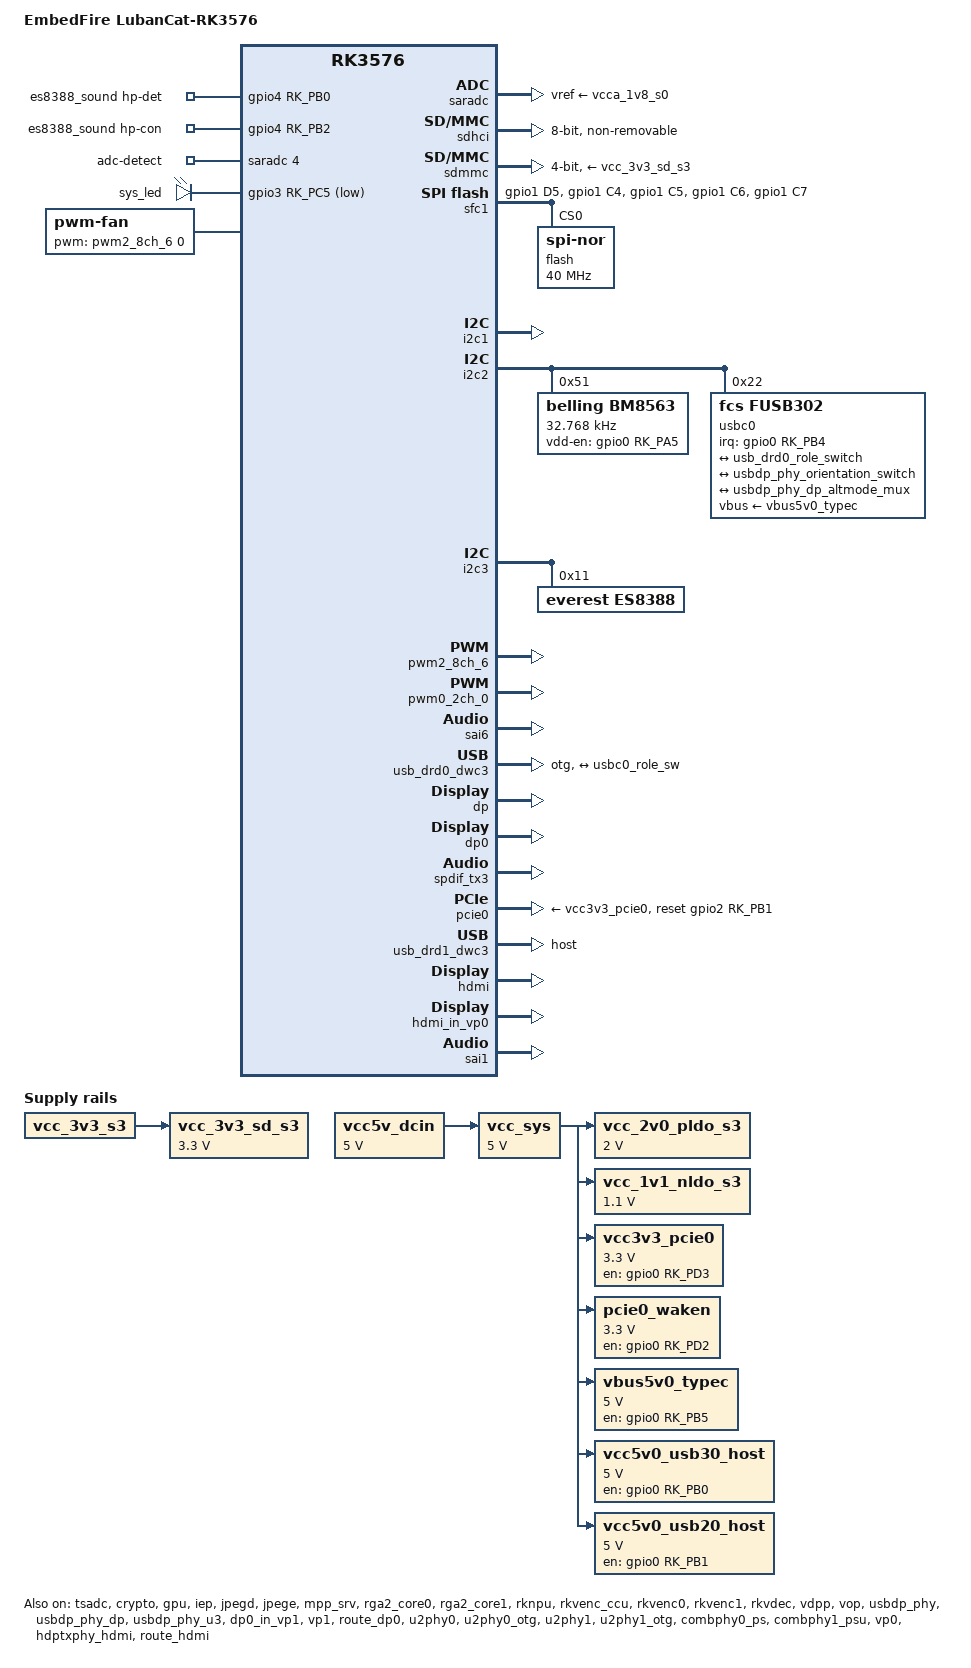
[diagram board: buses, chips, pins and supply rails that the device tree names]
// SPDX-License-Identifier: (GPL-2.0+ OR MIT)
/*
* Copyright (c) 2024 Rockchip Electronics Co., Ltd.
* Copyright (c) 2024 EmbedFire <embedfire@embedfire.com>
*/

/dts-v1/;
#include <dt-bindings/usb/pd.h>
#include <dt-bindings/gpio/gpio.h>
#include <dt-bindings/pwm/pwm.h>
#include <dt-bindings/pinctrl/rockchip.h>
#include <dt-bindings/input/linux-event-codes.h>
#include <dt-bindings/display/drm_mipi_dsi.h>
#include <dt-bindings/display/rockchip_vop.h>
#include <dt-bindings/sensor-dev.h>
#include "rk3576.dtsi"
#include "rk3576-linux.dtsi"
#include "rk3576-rk806.dtsi"

/ {
	model = "EmbedFire LubanCat-RK3576";
	compatible = "embedfire,rk3576-lubancat", "rockchip,rk3576";

	vcc5v_dcin: vcc5v-dcin {
		compatible = "regulator-fixed";
		regulator-name = "vcc5v_dcin";
		regulator-always-on;
		regulator-boot-on;
		regulator-min-microvolt = <5000000>;
		regulator-max-microvolt = <5000000>;
	};

	vcc_sys: vcc5v0-sys {
		compatible = "regulator-fixed";
		regulator-name = "vcc_sys";
		regulator-always-on;
		regulator-boot-on;
		regulator-min-microvolt = <5000000>;
		regulator-max-microvolt = <5000000>;
		vin-supply = <&vcc5v_dcin>;
	};

	vcc_2v0_pldo_s3: vcc-2v0-pldo-s3 {
		compatible = "regulator-fixed";
		regulator-name = "vcc_2v0_pldo_s3";
		regulator-boot-on;
		regulator-always-on;
		regulator-min-microvolt = <2000000>;
		regulator-max-microvolt = <2000000>;
		vin-supply = <&vcc_sys>;
	};

	vcc_1v1_nldo_s3: vcc-1v1-nldo-s3 {
		compatible = "regulator-fixed";
		regulator-name = "vcc_1v1_nldo_s3";
		regulator-boot-on;
		regulator-always-on;
		regulator-min-microvolt = <1100000>;
		regulator-max-microvolt = <1100000>;
		vin-supply = <&vcc_sys>;
	};

	vcc_3v3_sd_s3: vcc-3v3-sd-s3 {
		compatible = "regulator-fixed";
		regulator-name = "vcc_3v3_sd_s3";
		regulator-always-on;
		regulator-boot-on;
		regulator-min-microvolt = <3300000>;
		regulator-max-microvolt = <3300000>;
		vin-supply = <&vcc_3v3_s3>;
	};

	vcc3v3_pcie0: vcc3v3-pcie0 {
		compatible = "regulator-fixed";
		regulator-name = "vcc3v3_pcie0";
		regulator-min-microvolt = <3300000>;
		regulator-max-microvolt = <3300000>;
		enable-active-high;
		regulator-always-on;
		gpios = <&gpio0 RK_PD3 GPIO_ACTIVE_HIGH>;
		startup-delay-us = <5000>;
		vin-supply = <&vcc_sys>;
	};

	pcie0_waken: pcie0-waken {
		compatible = "regulator-fixed";
		regulator-name = "pcie0_waken";
		regulator-min-microvolt = <3300000>;
		regulator-max-microvolt = <3300000>;
		enable-active-high;
		regulator-always-on;
		gpios = <&gpio0 RK_PD2 GPIO_ACTIVE_HIGH>;
		startup-delay-us = <5000>;
		vin-supply = <&vcc_sys>;
	};

	vbus5v0_typec: vbus5v0-typec {
		compatible = "regulator-fixed";
		regulator-name = "vbus5v0_typec";
		regulator-min-microvolt = <5000000>;
		regulator-max-microvolt = <5000000>;
		enable-active-high;
		gpio = <&gpio0 RK_PB5 GPIO_ACTIVE_HIGH>;
		vin-supply = <&vcc_sys>;
		pinctrl-names = "default";
		pinctrl-0 = <&typec_vbus_en>;
	};

	vcc5v0_usb30_host: vcc5v0-usb30-host {
		compatible = "regulator-fixed";
		regulator-name = "vcc5v0_usb30_host";
		regulator-min-microvolt = <5000000>;
		regulator-max-microvolt = <5000000>;
		regulator-always-on;
		regulator-boot-on;
		enable-active-high;
		gpio = <&gpio0 RK_PB0 GPIO_ACTIVE_HIGH>;
		vin-supply = <&vcc_sys>;
		pinctrl-names = "default";
		pinctrl-0 = <&usb30_host_pwr_en>;
	};

	vcc5v0_usb20_host: vcc5v0-usb20-host {
		compatible = "regulator-fixed";
		regulator-name = "vcc5v0_usb20_host";
		regulator-min-microvolt = <5000000>;
		regulator-max-microvolt = <5000000>;
		regulator-always-on;
		regulator-boot-on;
		enable-active-high;
		gpio = <&gpio0 RK_PB1 GPIO_ACTIVE_HIGH>;
		vin-supply = <&vcc_sys>;
		pinctrl-names = "default";
		pinctrl-0 = <&usb20_host_pwr_en>;
	};

	es8388_sound: es8388-sound {
		status = "okay";
		compatible = "rockchip,multicodecs-card";
		rockchip,card-name = "rockchip-es8388";
		hp-det-gpio = <&gpio4 RK_PB0 GPIO_ACTIVE_HIGH>;
		hp-con-gpio = <&gpio4 RK_PB2 GPIO_ACTIVE_HIGH>;
		io-channels = <&saradc 4>;
		io-channel-names = "adc-detect";
		keyup-threshold-microvolt = <1800000>;
		poll-interval = <100>;
		// rockchip,pre-power-on-delay-ms = <30>;
		// rockchip,post-power-down-delay-ms = <40>;
		rockchip,format = "i2s";
		rockchip,mclk-fs = <256>;
		rockchip,cpu = <&sai1>;
		rockchip,codec = <&es8388>;
		rockchip,audio-routing =
			"Headphone", "LOUT1",
			"Headphone", "ROUT1",
			"Headphone", "Headphone Power",
			"Headphone", "Headphone Power",
			"LINPUT1", "Main Mic",
			"LINPUT2", "Main Mic",
			"RINPUT1", "Headset Mic",
			"RINPUT2", "Headset Mic";
		pinctrl-names = "default";
		pinctrl-0 = <&hp_det>;
		play-pause-key {
			label = "playpause";
			linux,code = <KEY_PLAYPAUSE>;
			press-threshold-microvolt = <2000>;
		};

		previous-song-key {
			label = "previoussong";
			linux,code = <KEY_PREVIOUSSONG>;
			press-threshold-microvolt = <145000>;
		};

		next-song-key {
			label = "nextsong";
			linux,code = <KEY_NEXTSONG>;
			press-threshold-microvolt = <290000>;
		};
	};

	hdmi_sound: hdmi-sound {
		compatible = "rockchip,hdmi";
		rockchip,mclk-fs = <128>;
		rockchip,card-name = "rockchip-hdmi";
		rockchip,cpu = <&sai6>;
		rockchip,codec = <&hdmi>;
		rockchip,jack-det;
	};

	dp0_sound: dp0-sound {
		compatible = "rockchip,hdmi";
		rockchip,mclk-fs = <512>;
		rockchip,card-name = "rockchip-dp0";
		rockchip,cpu = <&spdif_tx3>;
		rockchip,codec = <&dp0 1>;
		rockchip,jack-det;
	};

	leds: leds {
		status = "okay";
		compatible = "gpio-leds";

		sys_led: sys-led {
			label = "sys_led";
			linux,default-trigger = "heartbeat";
			default-state = "on";
			gpios = <&gpio3 RK_PC5 GPIO_ACTIVE_LOW>;
			pinctrl-names = "default";
			pinctrl-0 = <&sys_status_led_pin>;
		};
	};

	fan: pwm-fan {
		compatible = "pwm-fan";
		#cooling-cells = <2>;
		pwms = <&pwm2_8ch_6 0 500000 0>;
		cooling-levels = <0 100 150 200 255>;
		rockchip,temp-trips = <
			40000	1
			55000	2
			60000	3
			65000	4
		>;
	};

	test-power {
		status = "okay";
	};
};

&saradc {
	status = "okay";
	vref-supply = <&vcca_1v8_s0>;
};

&tsadc {
	status = "okay";
};

&sdhci {
	bus-width = <8>;
	no-sdio;
	no-sd;
	non-removable;
	max-frequency = <200000000>;
	mmc-hs400-1_8v;
	mmc-hs400-enhanced-strobe;
	full-pwr-cycle-in-suspend;
	status = "okay";
};

&sdmmc {
	max-frequency = <200000000>;
	no-sdio;
	no-mmc;
	bus-width = <4>;
	cap-mmc-highspeed;
	cap-sd-highspeed;
	disable-wp;
	sd-uhs-sdr104;
	vmmc-supply = <&vcc_3v3_sd_s3>;
	vqmmc-supply = <&vccio_sd_s0>;
	pinctrl-names = "default";
	pinctrl-0 = <&sdmmc0_clk &sdmmc0_cmd &sdmmc0_det &sdmmc0_bus4>;
	status = "okay";
};

&sfc1 {
	status = "okay";
	pinctrl-names = "default";
	pinctrl-0 = <&fspi1m1_correct_pins &fspi1m1_csn0>;

	flash@0 {
		compatible = "jedec,spi-nor";
		reg = <0>;
		spi-max-frequency = <40000000>;
		spi-rx-bus-width = <4>;
		spi-tx-bus-width = <1>;
	};
};

&i2c1 {
	pinctrl-names = "default";
	pinctrl-0 = <&i2c1m0_xfer>;
	status = "okay";
};

&i2c2 {
	pinctrl-names = "default";
	pinctrl-0 = <&i2c2m0_xfer>;
	status = "okay";

	bm8563: bm8563@51 {
		compatible = "belling,bm8563";
		reg = <0x51>;
		#clock-cells = <0>;
		clock-frequency = <32768>;
		//clock-output-names = "bm8563";
		pinctrl-names = "default";
		pinctrl-0 = <&bm8563_int>;
		vdd-en-gpio = <&gpio0 RK_PA5 GPIO_ACTIVE_HIGH>;
	};

	/* Typec Controller Fusb302 */
	usbc0: fusb302@22 {
		compatible = "fcs,fusb302";
		reg = <0x22>;
		interrupt-parent = <&gpio0>;
		interrupts = <RK_PB4 IRQ_TYPE_LEVEL_LOW>;
		pinctrl-names = "default";
		pinctrl-0 = <&fusb302_int>;
		vbus-supply = <&vbus5v0_typec>;
		status = "okay";

		ports {
			#address-cells = <1>;
			#size-cells = <0>;

			port@0 {
				reg = <0>;
				usbc0_role_sw: endpoint@0 {
					remote-endpoint = <&usb_drd0_role_switch>;
				};
			};
		};

		usb_con: connector {
			compatible = "usb-c-connector";
			label = "USB-C";
			data-role = "dual";
			power-role = "dual";
			try-power-role = "sink";
			op-sink-microwatt = <1000000>;
			sink-pdos =
				<PDO_FIXED(5000, 1000, PDO_FIXED_USB_COMM)>;
			source-pdos =
				<PDO_FIXED(5000, 3000, PDO_FIXED_USB_COMM)>;

			altmodes {
				#address-cells = <1>;
				#size-cells = <0>;

				altmode@0 {
					reg = <0>;
					svid = <0xff01>;
					vdo = <0xffffffff>;
				};
			};

			ports {
				#address-cells = <1>;
				#size-cells = <0>;

				port@0 {
					reg = <0>;
					usbc0_orien_sw: endpoint {
						remote-endpoint = <&usbdp_phy_orientation_switch>;
					};
				};

				port@1 {
					reg = <1>;
					dp_altmode_mux: endpoint {
						remote-endpoint = <&usbdp_phy_dp_altmode_mux>;
					};
				};
			};
		};
	};
};

&i2c3 {
	pinctrl-names = "default";
	pinctrl-0 = <&i2c3m0_xfer>;
	status = "okay";

	es8388: es8388@11 {
		status = "okay";
		#sound-dai-cells = <0>;
		compatible = "everest,es8388", "everest,es8323";
		reg = <0x11>;
		clocks = <&mclkout_sai1>;
		clock-names = "mclk";
		assigned-clocks = <&mclkout_sai1>;
		assigned-clock-rates = <12288000>;
		pinctrl-names = "default";
		pinctrl-0 = <&sai1m0_mclk>;
	};
};

&pwm2_8ch_6 {
	status = "okay";
	pinctrl-0 = <&pwm2m0_ch6>;
};

&pwm0_2ch_0 {
	compatible = "rockchip,remotectl-pwm-v4";
	pinctrl-names = "default";
	pinctrl-0 = <&pwm0m0_ch0>;
	remote_pwm_id = <0>;
	handle_cpu_id = <1>;
	remote_support_psci = <0>;
	status = "okay";

	ir_key_lubancat{
		rockchip,usercode = <0xff00>;
		rockchip,key_table =
			<0xba   KEY_POWER>,   //电源按键
			<0xb8   KEY_MENU>,     //菜单按键
			<0xbc   KEY_BACK>,      //返回按键
			<0xbb   KEY_HOME>,      //home键按键
			<0xea   KEY_PLAY>,      //播放按键
			<0xbf   KEY_VOLUMEUP>,  //音量加按键
			<0xe6   KEY_VOLUMEDOWN>,   //音量键按键
			<0xf6   KEY_FASTFORWARD>,  //快进按键
			<0xf8   KEY_FASTREVERSE>,  //快退按键
			<0xf2   KEY_BACKSPACE>,    //BaskSpace按键
			<0xf3   KEY_1>,            //按键1
			<0xe7   KEY_2>,
			<0xa1   KEY_3>,
			<0xf7   KEY_4>,
			<0xe3   KEY_5>,
			<0xa5   KEY_6>,
			<0xbd   KEY_7>,
			<0xad   KEY_8>,
			<0xb5   KEY_9>,
			<0xe9   KEY_0>;            //按键0
	};

	ir_key1 {
		rockchip,usercode = <0x4040>;
		rockchip,key_table =
			<0xf2	KEY_REPLY>,
			<0xba	KEY_BACK>,
			<0xf4	KEY_UP>,
			<0xf1	KEY_DOWN>,
			<0xef	KEY_LEFT>,
			<0xee	KEY_RIGHT>,
			<0xbd	KEY_HOME>,
			<0xea	KEY_VOLUMEUP>,
			<0xe3	KEY_VOLUMEDOWN>,
			<0xe2	KEY_SEARCH>,
			<0xb2	KEY_POWER>,
			<0xbc	KEY_MUTE>,
			<0xec	KEY_MENU>,
			<0xbf	0x190>,
			<0xe0	0x191>,
			<0xe1	0x192>,
			<0xe9	183>,
			<0xe6	248>,
			<0xe8	185>,
			<0xe7	186>,
			<0xf0	388>,
			<0xbe	0x175>;
	};
};

// &ufs {
// 	reset-gpios = <&gpio4 RK_PD0 GPIO_ACTIVE_HIGH>;
// 	vcc-supply = <&vcc_ufs_s0>;
// 	vccq-supply = <&vcc1v2_ufs_vccq_s0>;
// 	vccq2-supply = <&vcc1v8_ufs_vccq2_s0>;
// 	status = "disabled";
// };

&cpu_l0 {
	cpu-supply = <&vdd_cpu_lit_s0>;
};

&cpu_b0 {
	cpu-supply = <&vdd_cpu_big_s0>;
};

&crypto {
	status = "okay";
};

&gpu {
	mali-supply = <&vdd_gpu_s0>;
	status = "okay";
};

&iep {
	status = "okay";
};

&iep_mmu {
	status = "okay";
};

&jpegd {
	status = "okay";
};

&jpege {
	status = "okay";
};

&jpeg_mmu {
	status = "okay";
};

&mpp_srv {
	status = "okay";
};

&rga2_core0 {
	status = "okay";
};

&rga2_core0_mmu {
	status = "okay";
};

&rga2_core1 {
	status = "okay";
};

&rga2_core1_mmu {
	status = "okay";
};

&rknpu {
	rknpu-supply = <&vdd_npu_s0>;
	status = "okay";
};

&rknpu_mmu {
	status = "okay";
};

&rkvenc_ccu {
	status = "okay";
};

&rkvenc0 {
	status = "okay";
};

&rkvenc0_mmu {
	status = "okay";
};

&rkvenc1 {
	status = "okay";
};

&rkvenc1_mmu {
	status = "okay";

};

&rkvdec {
	status = "okay";
};

&rkvdec_mmu {
	status = "okay";
};

&rockchip_suspend {
	status = "okay";
	rockchip,sleep-debug-en = <1>;

	rockchip,sleep-io-ret-config = <
		(0
		| RKPM_VCCIO3_RET_EN
		)
	>;

	rockchip,regulator-on-before-mem = <&vdd_npu_s0>;
};

&sai6 {
	status = "okay";
};

&vdpp {
	status = "okay";
};

&vop {
	status = "okay";
	vop-supply = <&vdd_logic_s0>;
};

&vop_mmu {
	status = "okay";
};

&vp2 {
	assigned-clocks = <&cru DCLK_VP2_SRC>;
	assigned-clock-parents = <&cru PLL_VPLL>;
};

/* USB3 OTG0/DP1.4 Alt */
&usbdp_phy {
	orientation-switch;
	svid = <0xff01>;
	sbu1-dc-gpios = <&gpio4 RK_PC4 GPIO_ACTIVE_HIGH>;
	sbu2-dc-gpios = <&gpio4 RK_PC5 GPIO_ACTIVE_HIGH>;
	status = "okay";

	port {
		#address-cells = <1>;
		#size-cells = <0>;

		usbdp_phy_orientation_switch: endpoint@0 {
			reg = <0>;
			remote-endpoint = <&usbc0_orien_sw>;
		};

		usbdp_phy_dp_altmode_mux: endpoint@1 {
			reg = <1>;
			remote-endpoint = <&dp_altmode_mux>;
		};
	};
};

&usbdp_phy_dp {
	status = "okay";
};

&usbdp_phy_u3 {
	status = "okay";
};

&usb_drd0_dwc3 {
	dr_mode = "otg";
	usb-role-switch;
	status = "okay";
	snps,parkmode-disable-hs-quirk;
	snps,parkmode-disable-ss-quirk;
	snps,dis_u3_susphy_quirk;
	snps,dis_u2_susphy_quirk;
	port {
		usb_drd0_role_switch: endpoint {
			remote-endpoint = <&usbc0_role_sw>;
		};
	};
};

/* DP */
&dp {
	status = "okay";
};

&dp0 {
	status = "okay";
};

&dp0_in_vp0 {
	status = "disabled";
};

&dp0_in_vp1 {
	status = "okay";
};

&dp0_in_vp2 {
	status = "disabled";
};

&vp1 {
	status = "okay";
};

&route_dp0 {
	status = "okay";
	connect = <&vp1_out_dp0>;
};

&dp0_sound {
	status = "okay";
};

&spdif_tx3 {
	status = "okay";
};

/* USB2 OTG0 */
&u2phy0 {
	status = "okay";
};

&u2phy0_otg {
	rockchip,typec-vbus-det;
	status = "okay";
};

/* USB2 OTG1 */
&u2phy1 {
	status = "okay";
};

&u2phy1_otg {
	phy-supply = <&vcc5v0_usb20_host>;
	dr_mode = "host";
	status = "okay";
};

/* PCIE0/SATA0 Combo PHY0 */
&combphy0_ps {
	status = "okay";
};

&pcie0 {
	reset-gpios = <&gpio2 RK_PB1 GPIO_ACTIVE_HIGH>;
	disable-gpios = <&gpio4 RK_PC7 GPIO_ACTIVE_HIGH>;
	vpcie3v3-supply = <&vcc3v3_pcie0>;
	status = "okay";
};

&sata0 {
	vpcie3v3-supply = <&vcc3v3_pcie0>;
	status = "disabled";
};

/* PCIE1/SATA1/USB3_OTG1 Combo PHY1 */
&combphy1_psu {
	status = "okay";
};

&usb_drd1_dwc3 {
	dr_mode = "host";
	status = "okay";
	snps,parkmode-disable-hs-quirk;
	snps,parkmode-disable-ss-quirk;
	snps,dis_u3_susphy_quirk;
	snps,dis_u2_susphy_quirk;
};

/* HDMI TX/eDP TX Combo Phy */
&display_subsystem {
	clocks = <&hdptxphy_hdmi>;
	clock-names = "hdmi0_phy_pll";
};

&hdmi {
	enable-gpios = <&gpio4 RK_PC6 GPIO_ACTIVE_HIGH>;
	cec-enable = "true";
	rockchip,sda-falling-delay-ns = <360>;
	status = "okay";
};

&vp0 {
	status = "okay";
};

&hdmi_in_vp0 {
	status = "okay";
};

&hdmi_in_vp1 {
	status = "disabled";
};

&hdmi_in_vp2 {
	status = "disabled";
};

&hdmi_in_vopl {
	status = "disabled";
};

&hdptxphy_hdmi {
	status = "okay";
};

&route_hdmi {
	status = "okay";
	connect = <&vp0_out_hdmi>;
};

&hdmi_sound {
	status = "okay";
};

&sai1 {
	status = "okay";
	rockchip,sai-tx-route = <2 1 0 3>;
	pinctrl-names = "default";
	pinctrl-0 = <&sai1m0_lrck
			&sai1m0_sclk
			&sai1m0_sdi0
			&sai1m0_sdo2>;
};

&pinctrl {
	leds {
		sys_status_led_pin: sys-status-led-pin {
			rockchip,pins = <3 RK_PC5 RK_FUNC_GPIO &pcfg_pull_none>;
		};
	};

	bm8563 {
		bm8563_int: bm8563-int {
			rockchip,pins = <0 RK_PA5 RK_FUNC_GPIO &pcfg_pull_up>;
		};
	};

	usb-typec {
		fusb302_int: fusb302-int {
			rockchip,pins = <0 RK_PB4 RK_FUNC_GPIO &pcfg_pull_up>;
		};

		typec_vbus_en: typec-vbus-en {
			rockchip,pins = <0 RK_PB5 RK_FUNC_GPIO &pcfg_pull_none>;
		};
	};

	usb-host {
		usb30_host_pwr_en: usb30-host-pwr-en {
			rockchip,pins = <0 RK_PB0 RK_FUNC_GPIO &pcfg_pull_none>;
		};
		usb20_host_pwr_en: usb20-host-pwr-en {
			rockchip,pins = <0 RK_PB1 RK_FUNC_GPIO &pcfg_pull_none>;
		};
	};

	headphone {
		hp_det: hp-det {
			rockchip,pins = <4 RK_PB0 RK_FUNC_GPIO &pcfg_pull_up>;
		};
	};

	fspi1m1_correct {
		fspi1m1_correct_pins: fspi1m1-correct-pins {
			rockchip,pins =
				/* fspi1_clk_m1 */
				<1 RK_PD5 3 &pcfg_pull_none>,
				/* fspi1_d0_m1 */
				<1 RK_PC4 3 &pcfg_pull_none>,
				/* fspi1_d1_m1 */
				<1 RK_PC5 3 &pcfg_pull_none>,
				/* fspi1_d2_m1 */
				<1 RK_PC6 3 &pcfg_pull_none>,
				/* fspi1_d3_m1 */
				<1 RK_PC7 3 &pcfg_pull_none>;
		};
	};
};
